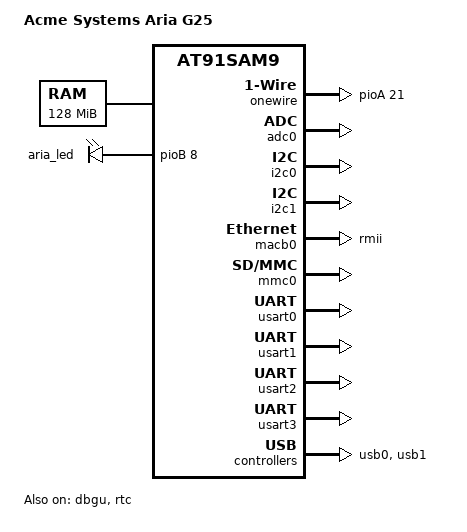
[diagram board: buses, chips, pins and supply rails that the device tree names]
// SPDX-License-Identifier: GPL-2.0-or-later
/*
 * at91-ariag25.dts - Device Tree file for Acme Systems Aria G25 (AT91SAM9G25 based)
 *
 * Copyright (C) 2013 Douglas Gilbert <dgilbert@interlog.com>,
 *                    Robert Nelson <robertcnelson@gmail.com>
 */
/dts-v1/;
#include "at91sam9g25.dtsi"

/ {
	model = "Acme Systems Aria G25";
	compatible = "acme,ariag25", "atmel,at91sam9x5ek",
		     "atmel,at91sam9x5", "atmel,at91sam9";

	aliases {
		serial5 = &uart0;
		serial6 = &uart1;
	};

	chosen {
		bootargs = "console=ttyS0,115200 root=/dev/mmcblk0p2 rw rootwait";
	};

	memory {
		/* 128 MB, change this for 256 MB revision */
		reg = <0x20000000 0x8000000>;
	};

	clocks {
		slow_xtal {
			clock-frequency = <32768>;
		};

		main_xtal {
			clock-frequency = <12000000>;
		};
	};

	leds {
		compatible = "gpio-leds";

		/* little green LED in middle of Aria G25 module */
		aria_led {
			label = "aria_led";
			gpios = <&pioB 8 GPIO_ACTIVE_HIGH>; /* PB8 */
			linux,default-trigger = "heartbeat";
		};

	};

	onewire {
		compatible = "w1-gpio";
		gpios = <&pioA 21 GPIO_ACTIVE_LOW>;
		pinctrl-names = "default";
		pinctrl-0 = <&pinctrl_w1_0>;
	};
};

&adc0 {
	status = "okay";
	atmel,adc-channels-used = <0xf>;
};

&dbgu {
	status = "okay";
};

&i2c0 {
	status = "okay";
};

&i2c1 {
	status = "okay";
};

/* TWD2+TCLK2 hidden behind ethernet, so no i2c2 */

&macb0 {
	phy-mode = "rmii";
	/*
	 * following can be overwritten by bootloader:
	 * for example u-boot 'ftd set' command
	 */
	local-mac-address = [00 00 00 00 00 00];
	status = "okay";
};


&mmc0 {
	/* N.B. Aria has no SD card detect (CD), assumed present */

	pinctrl-0 = <
		&pinctrl_mmc0_slot0_clk_cmd_dat0
		&pinctrl_mmc0_slot0_dat1_3>;
	status = "okay";

	slot@0 {
		reg = <0>;
		bus-width = <4>;
	};
};

&pinctrl {
	w1_0 {
		pinctrl_w1_0: w1_0-0 {
			atmel,pins = <0 21 0x0 0x1>; /* PA21 PIO, pull-up */
		};
	};
};

&rtc {
	status = "okay";
};

&tcb0 {
	timer@0 {
		compatible = "atmel,tcb-timer";
		reg = <0>;
	};

	timer@1 {
		compatible = "atmel,tcb-timer";
		reg = <1>;
	};
};

/*
 * UART0/1 pins are marked as GPIO on
 * Aria documentation.
 * Change to "okay" if you need additional serial ports
 */
&uart0 {
	status = "disabled";
};

&uart1 {
	status = "disabled";
};

&usart0 {
	pinctrl-0 = <&pinctrl_usart0
		     &pinctrl_usart0_rts
		     &pinctrl_usart0_cts>;
	status = "okay";
};

&usart1 {
	pinctrl-0 = <&pinctrl_usart1
		     /* &pinctrl_usart1_rts */
		     /* &pinctrl_usart1_cts */
		    >;
	status = "okay";
};

&usart2 {
	/* cannot activate RTS2+CTS2, clash with
	 * ethernet on PB0 and PB1 */
	pinctrl-0 = <&pinctrl_usart2>;
	status = "okay";
};

&usart3 {
	compatible = "atmel,at91sam9260-usart";
	reg = <0xf8028000 0x200>;
	interrupts = <8 4 5>;
	pinctrl-names = "default";
	pinctrl-0 = <&pinctrl_usart3
		     /* &pinctrl_usart3_rts */
		     /* &pinctrl_usart3_cts */
		    >;
	status = "okay";
};

&usb0 {
	status = "okay";
	num-ports = <3>;
};

&usb1 {
	status = "okay";
};
